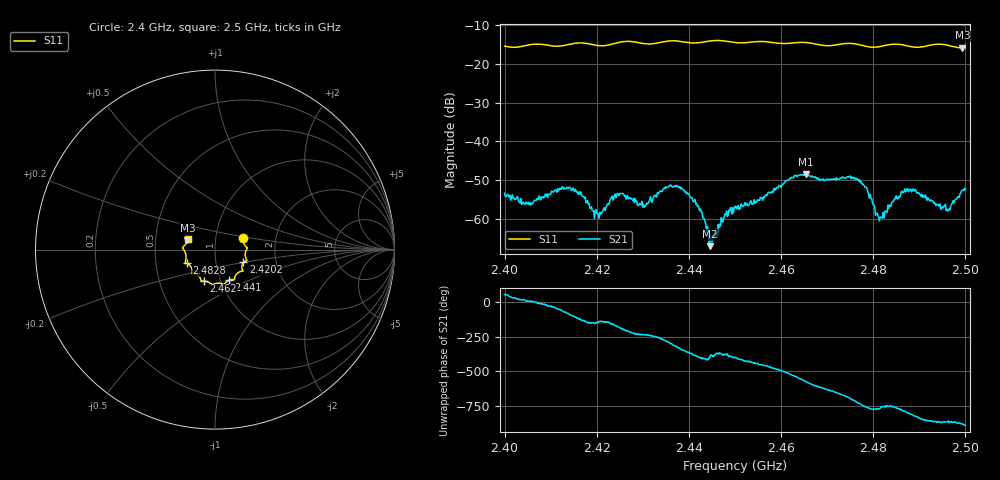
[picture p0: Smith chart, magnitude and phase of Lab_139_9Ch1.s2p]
# Hz S RI R 50
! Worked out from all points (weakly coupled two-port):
!   601 points, 2.4 GHz to 2.5 GHz, reference 50 ohm
!   highest |S21| = -48.42 dB at 2.4653 GHz (marker M1); lowest = -67.1 dB at 2.4445 GHz (marker M2)
!   lowest |S11| = -15.8 dB at 2.4993 GHz (marker M3), VSWR 1.39, Z = 36.5 + j3.85 ohm
!   |S11| at or under -10 dB: start of sweep to end of sweep
!   S12 and S22 are empty: the file has one direction only
!   S11 on the Smith chart (normalised r, x): 2.4 GHz: 1.36, +0.18; 2.4202 GHz: 1.36, -0.20; 2.441 GHz: 1.10, -0.39; 2.462 GHz: 0.84, -0.30; 2.4828 GHz: 0.72, -0.11; 2.5 GHz: 0.73, +0.09
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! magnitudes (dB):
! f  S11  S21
! 2.4 GHz  -15.4  -53.4
! 2.4055 GHz  -15.0  -55.9
! 2.4167 GHz  -14.5  -53.7
! 2.4202 GHz  -15.2  -58.6
! 2.4248 GHz  -14.4  -54.0
! 2.4305 GHz  -14.8  -56.8
! 2.4333 GHz  -14.5  -53.6
! 2.4375 GHz  -14.1  -51.4
! 2.441 GHz  -14.6  -55.6
! 2.4445 GHz  -14.0  -67.1
! 2.45 GHz  -14.4  -57.1
! 2.462 GHz  -14.6  -49.4
! 2.4653 GHz  -14.4  -48.4
! 2.4667 GHz  -14.6  -49.0
! 2.4765 GHz  -14.9  -49.6
! 2.481 GHz  -15.6  -59.2
! 2.4828 GHz  -15.1  -58.2
! 2.4833 GHz  -15.0  -57.3
! 2.4877 GHz  -15.4  -53.0
! 2.4963 GHz  -15.2  -57.8
! 2.4993 GHz  -15.8  -52.6
! 2.5 GHz  -15.7  -52.4
